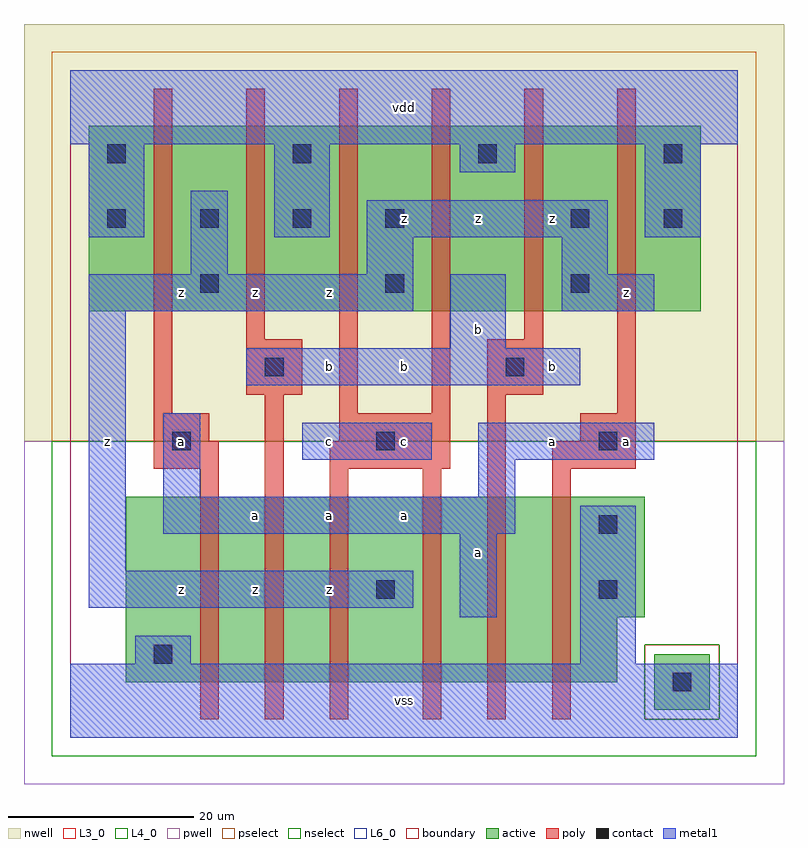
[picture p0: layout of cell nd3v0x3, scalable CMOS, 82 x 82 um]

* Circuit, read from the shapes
.subckt nd3v0x3 a b c vdd vss z
M1 n1 a vss vss nfet w=20u l=2u
M2 n2 b n1 vss nfet w=20u l=2u
M3 z c n2 vss nfet w=20u l=2u
M4 n3 c z vss nfet w=20u l=2u
M5 n4 b n3 vss nfet w=20u l=2u
M6 vss a n4 vss nfet w=20u l=2u
M7 z a vdd n5 pfet w=20u l=2u m=2
M8 vdd b z n5 pfet w=20u l=2u m=2
M9 z c vdd n5 pfet w=20u l=2u m=2
.ends

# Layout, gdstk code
import gdstk
lib = gdstk.Library(unit=1e-6, precision=1e-09)
def R(c, l, rs):  # rectangles x0, y0, x1, y1
    for r in rs: c.add(gdstk.rectangle(r[:2], r[2:], *l))
def A(c, l, x, y, w, h, nx, ny, dx, dy):  # array of equal rectangles
    R(c, l, [(x+i*dx, y+j*dy, x+i*dx+w, y+j*dy+h) for i in range(nx) for j in range(ny)])
L3_0 = (3, 0)
L4_0 = (4, 0)
L6_0 = (6, 0)
contact = (25, 0)
pwell = (41, 0)
nwell = (42, 0)
active = (43, 0)
pselect = (44, 0)
nselect = (45, 0)
poly = (46, 0)
metal1 = (49, 0)
boundary = (63, 0)

nd3v0x3 = lib.new_cell('nd3v0x3')
R(nd3v0x3, L3_0, [(6,6,59,13), (6,13,62,26)])
R(nd3v0x3, L4_0, [(2,46,68,66)])
R(nd3v0x3, L6_0, [(63,3,69,9)])
A(nd3v0x3, contact, 14, 48, 2, 2, 3, 1, 20, 0)
A(nd3v0x3, contact, 4, 55, 2, 2, 4, 1, 10, 0)
A(nd3v0x3, contact, 4, 62, 2, 2, 4, 1, 20, 0)
R(nd3v0x3, contact, [(65,5,67,7), (9,8,11,10), (33,15,35,17), (57,15,59,17), (57,22,59,24), (11,31,13,33), (33,31,35,33), (57,31,59,33), (21,39,23,41), (47,39,49,41), (54,55,56,57), (64,55,66,57)])
R(nd3v0x3, pwell, [(-5,-5,77,32)])
R(nd3v0x3, nwell, [(-5,32,77,77)])
R(nd3v0x3, active, [(63,3,69,9), (6,6,59,13), (6,13,62,26), (2,46,68,66)])
R(nd3v0x3, pselect, [(62,2,70,10), (-2,32,74,74)])
R(nd3v0x3, nselect, [(-2,-2,74,2), (-2,2,62,10), (70,2,74,10), (-2,10,74,32)])
R(nd3v0x3, poly, [(14,2,16,29), (21,2,23,37), (28,2,30,29), (38,2,40,29), (45,2,47,37), (52,2,54,29), (9,29,16,32), (28,29,41,32), (52,29,61,32), (9,32,15,35), (29,32,41,35), (55,32,61,35), (9,35,11,70), (29,35,31,70), (39,35,41,70), (59,35,61,70), (19,37,25,43), (45,37,51,43), (19,43,21,70), (49,43,51,70)])
R(nd3v0x3, metal1, [(0,0,72,8), (7,8,13,11), (55,8,61,25), (42,13,46,22), (2,14,37,18), (2,18,6,46), (10,22,48,26), (10,26,14,35), (44,26,48,30), (25,30,39,34), (44,30,63,34), (19,38,55,42), (41,42,47,50), (2,46,37,50), (53,46,63,50), (13,50,17,59), (32,50,37,54), (53,50,58,54), (2,54,8,64), (22,54,28,64), (32,54,58,58), (62,54,68,64), (42,61,48,64), (0,64,72,72)])
R(nd3v0x3, boundary, [(0,0,72,72)])
nd3v0x3.add(gdstk.Label('z', (4,32), layer=49, texttype=0))
nd3v0x3.add(gdstk.Label('z', (20,16), layer=49, texttype=0))
nd3v0x3.add(gdstk.Label('z', (12,16), layer=49, texttype=0))
nd3v0x3.add(gdstk.Label('a', (20,24), layer=49, texttype=0))
nd3v0x3.add(gdstk.Label('a', (12,32), layer=49, texttype=0))
nd3v0x3.add(gdstk.Label('z', (12,48), layer=49, texttype=0))
nd3v0x3.add(gdstk.Label('z', (20,48), layer=49, texttype=0))
nd3v0x3.add(gdstk.Label('vss', (36,4), layer=49, texttype=0))
nd3v0x3.add(gdstk.Label('z', (28,16), layer=49, texttype=0))
nd3v0x3.add(gdstk.Label('a', (28,24), layer=49, texttype=0))
nd3v0x3.add(gdstk.Label('a', (36,24), layer=49, texttype=0))
nd3v0x3.add(gdstk.Label('c', (36,32), layer=49, texttype=0))
nd3v0x3.add(gdstk.Label('c', (28,32), layer=49, texttype=0))
nd3v0x3.add(gdstk.Label('b', (28,40), layer=49, texttype=0))
nd3v0x3.add(gdstk.Label('b', (36,40), layer=49, texttype=0))
nd3v0x3.add(gdstk.Label('z', (28,48), layer=49, texttype=0))
nd3v0x3.add(gdstk.Label('z', (36,56), layer=49, texttype=0))
nd3v0x3.add(gdstk.Label('vdd', (36,68), layer=49, texttype=0))
nd3v0x3.add(gdstk.Label('a', (44,20), layer=49, texttype=0))
nd3v0x3.add(gdstk.Label('a', (52,32), layer=49, texttype=0))
nd3v0x3.add(gdstk.Label('b', (52,40), layer=49, texttype=0))
nd3v0x3.add(gdstk.Label('b', (44,44), layer=49, texttype=0))
nd3v0x3.add(gdstk.Label('z', (52,56), layer=49, texttype=0))
nd3v0x3.add(gdstk.Label('z', (44,56), layer=49, texttype=0))
nd3v0x3.add(gdstk.Label('a', (60,32), layer=49, texttype=0))
nd3v0x3.add(gdstk.Label('z', (60,48), layer=49, texttype=0))

lib.write_gds('nd3v0x3.gds')
